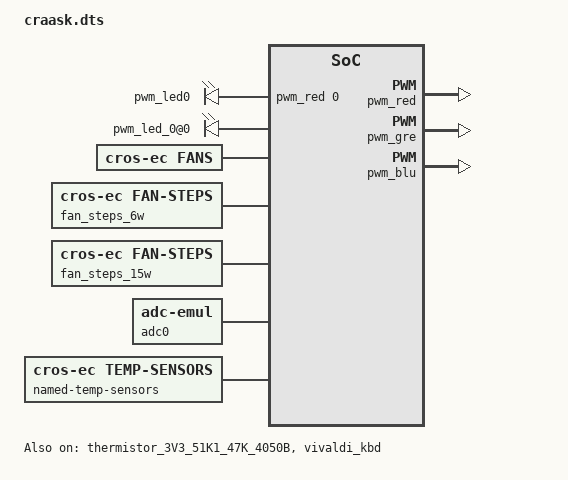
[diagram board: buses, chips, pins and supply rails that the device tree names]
/* Copyright 2023 The ChromiumOS Authors
 * Use of this source code is governed by a BSD-style license that can be
 * found in the LICENSE file.
 */

#include <cros/thermistor/thermistor.dtsi>
#include <dt-bindings/pwm/pwm.h>
#include <cros/vivaldi_kbd_default.dtsi>

#include "generic_npcx.dts"
#include "../program/nissa/craask/cbi.dtsi"
#include "../program/nissa/craask/motionsense.dtsi"

/ {
	chosen {
		cros-ec,raw-kb = &cros_kb_raw;
	};

	cros_kb_raw: kb-raw-emul {
		compatible = "cros-ec,kb-raw-emul";
	};

	named-gpios {
		gpio_voldn_btn_odl: voldn_btn_odl {
			gpios = <&gpio9 3 GPIO_INPUT_PULL_UP>;
			enum-name = "GPIO_VOLUME_DOWN_L";
		};
		gpio_volup_btn_odl: volup_btn_odl {
			gpios = <&gpioa 2 GPIO_INPUT_PULL_UP>;
			enum-name = "GPIO_VOLUME_UP_L";
		};
		gpio_lid_open: lid_open {
			gpios = <&gpiod 2 GPIO_INPUT>;
			enum-name = "GPIO_LID_OPEN";
		};
		gpio_imu_int_l: imu_int_l {
			gpios = <&gpio5 6 GPIO_INPUT>;
		};
		gpio_acc_int_l: acc_int_l {
			gpios = <&gpio5 0 GPIO_INPUT>;
		};
		gpio_tablet_mode_l: tablet_mode_l {
			gpios = <&gpio9 5 GPIO_INPUT>;
			enum-name = "GPIO_TABLET_MODE_L";
		};
		gpio_fan_enable: fan-enable {
			gpios = <&gpio6 3 GPIO_OUTPUT>;
			no-auto-init;
		};
		gpio_ec_touch_en: ec_touch_en {
			gpios = <&gpio8 3 GPIO_OUTPUT_LOW>;
		};
		gpio_soc_edp_bl_en: soc_edp_bl_en {
			gpios = <&gpioc 7 GPIO_INPUT>;
		};
	};

	gpio-interrupts {
		int_vol_down: vol_down {
			irq-pin = <&gpio_voldn_btn_odl>;
			flags = <GPIO_INT_EDGE_BOTH>;
			handler = "button_interrupt";
		};
		int_vol_up: vol_up {
			irq-pin = <&gpio_volup_btn_odl>;
			flags = <GPIO_INT_EDGE_BOTH>;
			handler = "button_interrupt";
		};
		int_lid_open: lid_open {
			irq-pin = <&gpio_lid_open>;
			flags = <GPIO_INT_EDGE_BOTH>;
			handler = "lid_interrupt";
		};
		int_imu: ec_imu {
			irq-pin = <&gpio_imu_int_l>;
			flags = <GPIO_INT_EDGE_FALLING>;
			handler = "motion_interrupt";
		};
		int_lid_accel: ec_lid_accel {
			irq-pin = <&gpio_acc_int_l>;
			flags = <GPIO_INT_EDGE_FALLING>;
			handler = "lid_accel_interrupt";
		};
		int_tablet_mode: tablet_mode {
			irq-pin = <&gpio_tablet_mode_l>;
			flags = <GPIO_INT_EDGE_BOTH>;
			handler = "gmr_tablet_switch_isr";
		};
		int_soc_edp_bl_en: soc_edp_bl_en {
			irq-pin = <&gpio_soc_edp_bl_en>;
			flags = <GPIO_INT_EDGE_BOTH>;
			handler = "soc_edp_bl_interrupt";
		};
	};

	named-i2c-ports {
		i2c_ec_i2c_sensor: ec_i2c_sensor {
			i2c-port = <&i2c_ctrl1>;
			enum-names = "I2C_PORT_SENSOR";
		};
	};

	batteries {
		default_battery: lgc {
			compatible = "lgc,ap18c8k", "battery-smart";
		};
		battery_cosmx: cosmx {
			compatible = "cosmx,ap20cbl", "battery-smart";
		};
		battery_cosmx_2: cosmx-2 {
			compatible = "cosmx,ap20cbl-2", "battery-smart";
		};
	};

	/* LEDs need to exist for testing, but aren't actually used. */
	led-pwms {
		#address-cells = <1>;
		#size-cells = <1>;

		pwm_red: pwm@0 {
			compatible = "cros,pwm-mock";
			reg = <0 1>;
			#pwm-cells = <3>;
		};
		pwm_gre: pwm@1 {
			compatible = "cros,pwm-mock";
			reg = <1 1>;
			#pwm-cells = <3>;
		};
		pwm_blu: pwm@2 {
			compatible = "cros,pwm-mock";
			reg = <2 1>;
			#pwm-cells = <3>;
		};
	};

	pwm-leds {
		compatible = "pwm-leds";

		pwm_led0: led0 {
			pwms = <&pwm_red 0 PWM_HZ(324) PWM_POLARITY_INVERTED>,
			       <&pwm_gre 1 PWM_HZ(324) PWM_POLARITY_INVERTED>,
			       <&pwm_blu 2 PWM_HZ(324) PWM_POLARITY_INVERTED>;
		};
	};

	cros-pwmleds {
		compatible = "cros-ec,pwm-leds";
		leds = <&pwm_led0>;

		#address-cells = <1>;
		#size-cells = <0>;

		pwm_led_0@0 {
			reg = <0>;
			ec-led-name = "EC_LED_ID_BATTERY_LED";
		};
	};

	pwms {
		#address-cells = <1>;
		#size-cells = <1>;

		pwm_fan: pwm@6 {
			compatible = "cros,pwm-mock";
			reg = <6 1>;
			#pwm-cells = <3>;
			status = "okay";
		};
	};

	tachs {
		#address-cells = <1>;
		#size-cells = <1>;

		tach_fan: tach@0 {
			compatible = "cros,tach-mock";
			reg = <0 1>;
			#tach-cells = <3>;
			status = "okay";
		};
	};

	fans {
		compatible = "cros-ec,fans";

		fan_0 {
			pwms = <&pwm_fan 0 PWM_KHZ(25) PWM_POLARITY_NORMAL>;
			tach = <&tach_fan>;
			rpm_min = <2500>;
			rpm_start = <2500>;
			rpm_max = <6000>;
			enable_gpio = <&gpio_fan_enable>;
		};
	};

	fan_steps_6w: fan-steps-6w {
		compatible = "cros-ec,fan-steps";
		level_0 {
			temp_on = <25>;
			temp_off = <99>;
			rpm_target = <0>;
		};
		level_1 {
			temp_on = <40>;
			temp_off = <35>;
			rpm_target = <2500>;
		};
		level_2 {
			temp_on = <44>;
			temp_off = <41>;
			rpm_target = <2800>;
		};
		level_3 {
			temp_on = <48>;
			temp_off = <45>;
			rpm_target = <3000>;
		};
		level_4 {
			temp_on = <52>;
			temp_off = <49>;
			rpm_target = <3200>;
		};
		level_5 {
			temp_on = <60>;
			temp_off = <54>;
			rpm_target = <3600>;
		};
		level_6 {
			temp_on = <64>;
			temp_off = <58>;
			rpm_target = <4000>;
		};
		level_7 {
			temp_on = <67>;
			temp_off = <62>;
			rpm_target = <4600>;
		};
		level_8 {
			temp_on = <71>;
			temp_off = <66>;
			rpm_target = <5000>;
		};
		level_9 {
			temp_on = <74>;
			temp_off = <70>;
			rpm_target = <5500>;
		};
	};

	fan_steps_15w: fan-steps-15w {
		compatible = "cros-ec,fan-steps";
		level_0 {
			temp_on = <25>;
			temp_off = <99>;
			rpm_target = <0>;
		};
		level_1 {
			temp_on = <37>;
			temp_off = <34>;
			rpm_target = <2500>;
		};
		level_2 {
			temp_on = <42>;
			temp_off = <39>;
			rpm_target = <2800>;
		};
		level_3 {
			temp_on = <46>;
			temp_off = <43>;
			rpm_target = <3000>;
		};
		level_4 {
			temp_on = <51>;
			temp_off = <48>;
			rpm_target = <3200>;
		};
		level_5 {
			temp_on = <55>;
			temp_off = <52>;
			rpm_target = <3600>;
		};
		level_6 {
			temp_on = <59>;
			temp_off = <56>;
			rpm_target = <4000>;
		};
		level_7 {
			temp_on = <66>;
			temp_off = <63>;
			rpm_target = <4600>;
		};
		level_8 {
			temp_on = <72>;
			temp_off = <69>;
			rpm_target = <5000>;
		};
		level_9 {
			temp_on = <74>;
			temp_off = <71>;
			rpm_target = <5500>;
		};
	};

	adc0: adc {
		compatible = "zephyr,adc-emul";
		nchannels = <6>;
		ref-internal-mv = <3300>;
		#io-channel-cells = <1>;
		status = "okay";
	};

	named-adc-channels {
		compatible = "named-adc-channels";

		adc_temp_sensor_1: temp_sensor_1 {
			enum-name = "ADC_TEMP_SENSOR_1";
			io-channels = <&adc0 1>;
		};
	};

	temp_memory_thermistor: memory {
		compatible = "cros-ec,temp-sensor-thermistor";
		thermistor = <&thermistor_3V3_51K1_47K_4050B>;
		adc = <&adc_temp_sensor_1>;
	};

	named-temp-sensors {
		compatible = "cros-ec,temp-sensors";
		temp_memory: memory {
			status = "okay";
			sensor = <&temp_memory_thermistor>;
		};
	};
};

&thermistor_3V3_51K1_47K_4050B  {
	status = "okay";
};

&vivaldi_kbd {
	status = "okay";

	kbd_config_1: kbd-config-1 {
		vivaldi-codes = <0 0 0 0 0 0 0 0 0 0>;
		capabilities = <0>;
	};
};
